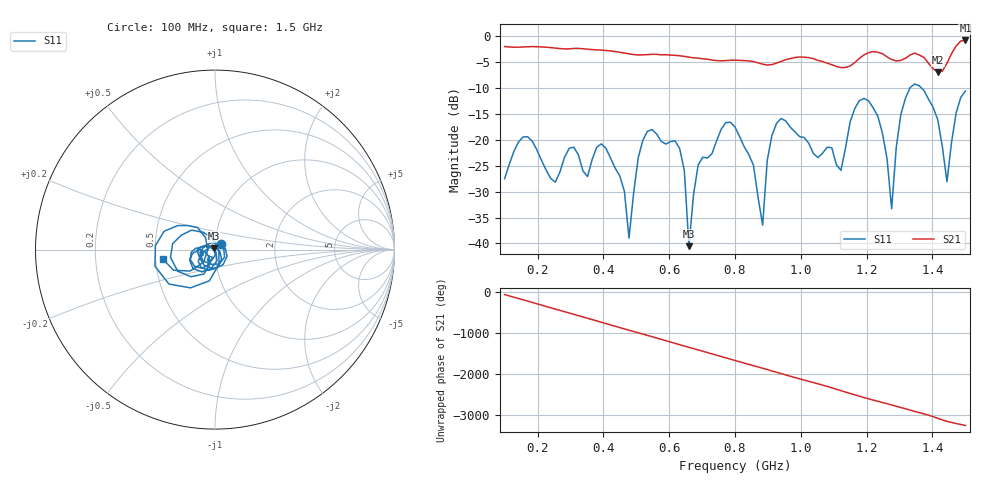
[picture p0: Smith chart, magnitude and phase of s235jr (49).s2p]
! NanoVNA-App
! Date: 2025-09-25 15:04:32
! Start: 100MHz Stop: 1,5GHz Points: 101
! S-Parameter data: F S11 S21 S12 S22
# Hz S RI R 50
!  Frequency  S11_Real  S11_Imag  S21_Real  S21_Imag  S12_Real  S12_Imag  S22_Real  S22_Imag
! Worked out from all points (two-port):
!   101 points, 100 MHz to 1.5 GHz, reference 50 ohm
!   highest |S21| = -0.78 dB at 1.5 GHz (marker M1); lowest = -6.9 dB at 1.416 GHz (marker M2)
!   |S21| within 3 dB of the highest: start of sweep to 637.2 MHz; 1.187 GHz to 1.258 GHz (70.62 MHz wide, 5.78 % of centre) (the widest 2 of 4)
!   lowest |S11| = -40.5 dB at 660 MHz (marker M3), VSWR 1.02, Z = 49.3 + j0.626 ohm
!   |S11| at or under -10 dB: start of sweep to 1.331 GHz; 1.367 GHz to end of sweep
!   S12 and S22 are empty: the file has one direction only
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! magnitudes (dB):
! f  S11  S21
! 100 MHz  -27.5  -2.0
! 156 MHz  -19.4  -2.0
! 338 MHz  -26.0  -2.4
! 408 MHz  -21.6  -2.7
! 478 MHz  -39.0  -3.4
! 520 MHz  -20.1  -3.6
! 576 MHz  -20.3  -3.5
! 632 MHz  -21.7  -3.7
! 660 MHz  -40.5  -4.0
! 688 MHz  -24.8  -4.2
! 800 MHz  -17.5  -4.6
! 884 MHz  -36.5  -5.4
! 926 MHz  -16.8  -5.1
! 1.038 GHz  -22.6  -4.3
! 1.122 GHz  -25.9  -6.0
! 1.206 GHz  -12.5  -3.1
! 1.276 GHz  -33.3  -4.5
! 1.304 GHz  -15.0  -4.6
! 1.332 GHz  -9.9  -3.6
! 1.416 GHz  -16.1  -6.9
! 1.444 GHz  -28.1  -5.2
! 1.5 GHz  -10.6  -0.8
